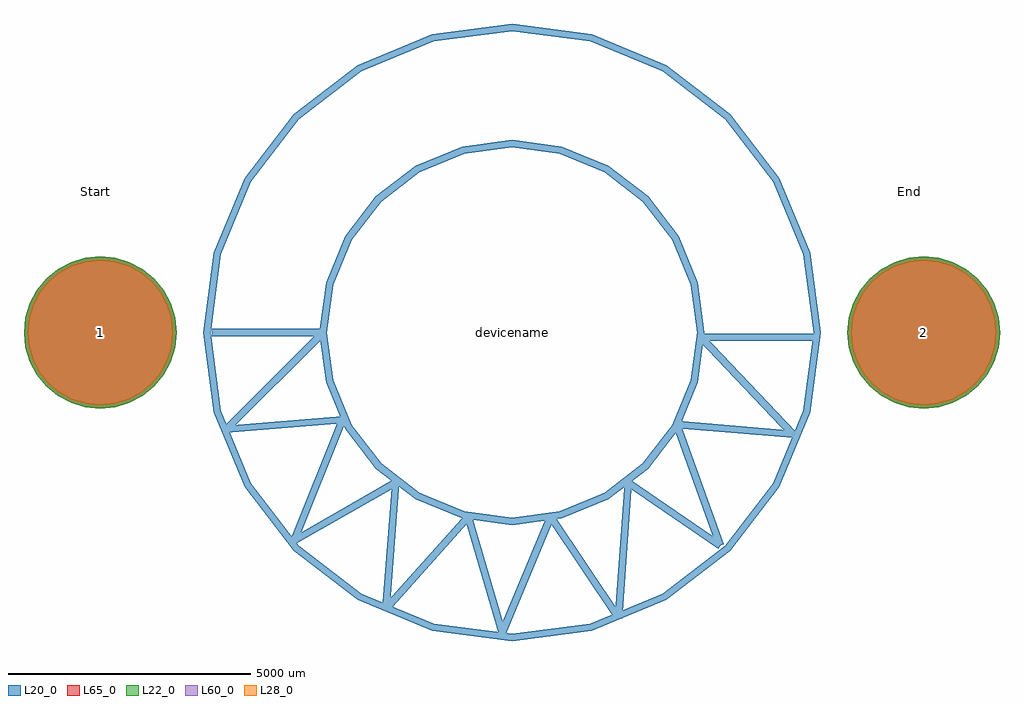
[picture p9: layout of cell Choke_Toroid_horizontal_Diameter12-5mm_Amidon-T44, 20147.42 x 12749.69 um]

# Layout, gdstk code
import gdstk
lib = gdstk.Library(unit=1e-6, precision=1e-09)
def P(c, l, *ps):  # polygons
    for p in ps: c.add(gdstk.Polygon(p, *l))
L20_0 = (20, 0)
L22_0 = (22, 0)
L28_0 = (28, 0)
L60_0 = (60, 0)
L65_0 = (65, 0)

choke_toroid_horizontal_ = lib.new_cell('Choke_Toroid_horizontal_Diameter12-5mm_Amidon-T44')
P(choke_toroid_horizontal_, L22_0, [(10073.71,0),(10043.449,307.242),(9953.83,602.677),(9808.297,874.951),(9612.441,1113.601),(9373.791,1309.457),(9101.517,1454.99),(8806.082,1544.609),(8498.84,1574.87),(8191.598,1544.609),(7896.163,1454.99),(7623.889,1309.457),(7385.239,1113.601),(7189.383,874.951),(7043.85,602.677),(6954.231,307.242),(6923.97,0),(6954.231,-307.242),(7043.85,-602.677),(7189.383,-874.951),(7385.239,-1113.601),(7623.889,-1309.457),(7896.163,-1454.99),(8191.598,-1544.609),(8498.84,-1574.87),(8806.082,-1544.609),(9101.517,-1454.99),(9373.791,-1309.457),(9612.441,-1113.601),(9808.297,-874.951),(9953.83,-602.677),(10043.449,-307.242)],
  [(-6923.97,0),(-6954.231,307.242),(-7043.85,602.677),(-7189.383,874.951),(-7385.239,1113.601),(-7623.889,1309.457),(-7896.163,1454.99),(-8191.598,1544.609),(-8498.84,1574.87),(-8806.082,1544.609),(-9101.517,1454.99),(-9373.791,1309.457),(-9612.441,1113.601),(-9808.297,874.951),(-9953.83,602.677),(-10043.449,307.242),(-10073.71,0),(-10043.449,-307.242),(-9953.83,-602.677),(-9808.297,-874.951),(-9612.441,-1113.601),(-9373.791,-1309.457),(-9101.517,-1454.99),(-8806.082,-1544.609),(-8498.84,-1574.87),(-8191.598,-1544.609),(-7896.163,-1454.99),(-7623.889,-1309.457),(-7385.239,-1113.601),(-7189.383,-874.951),(-7043.85,-602.677),(-6954.231,-307.242)])
P(choke_toroid_horizontal_, L28_0, [(9998.71,0),(9969.89,292.61),(9884.539,573.975),(9745.936,833.283),(9559.408,1060.568),(9332.123,1247.096),(9072.815,1385.699),(8791.45,1471.05),(8498.84,1499.87),(8206.23,1471.05),(7924.865,1385.699),(7665.557,1247.096),(7438.272,1060.568),(7251.744,833.283),(7113.141,573.975),(7027.79,292.61),(6998.97,0),(7027.79,-292.61),(7113.141,-573.975),(7251.744,-833.283),(7438.272,-1060.568),(7665.557,-1247.096),(7924.865,-1385.699),(8206.23,-1471.05),(8498.84,-1499.87),(8791.45,-1471.05),(9072.815,-1385.699),(9332.123,-1247.096),(9559.408,-1060.568),(9745.936,-833.283),(9884.539,-573.975),(9969.89,-292.61)],
  [(-6998.97,0),(-7027.79,292.61),(-7113.141,573.975),(-7251.744,833.283),(-7438.272,1060.568),(-7665.557,1247.096),(-7924.865,1385.699),(-8206.23,1471.05),(-8498.84,1499.87),(-8791.45,1471.05),(-9072.815,1385.699),(-9332.123,1247.096),(-9559.408,1060.568),(-9745.936,833.283),(-9884.539,573.975),(-9969.89,292.61),(-9998.71,0),(-9969.89,-292.61),(-9884.539,-573.975),(-9745.936,-833.283),(-9559.408,-1060.568),(-9332.123,-1247.096),(-9072.815,-1385.699),(-8791.45,-1471.05),(-8498.84,-1499.87),(-8206.23,-1471.05),(-7924.865,-1385.699),(-7665.557,-1247.096),(-7438.272,-1060.568),(-7251.744,-833.283),(-7113.141,-573.975),(-7027.79,-292.61)])
P(choke_toroid_horizontal_, L60_0, [(9998.71,0),(9969.89,292.61),(9884.539,573.975),(9745.936,833.283),(9559.408,1060.568),(9332.123,1247.096),(9072.815,1385.699),(8791.45,1471.05),(8498.84,1499.87),(8206.23,1471.05),(7924.865,1385.699),(7665.557,1247.096),(7438.272,1060.568),(7251.744,833.283),(7113.141,573.975),(7027.79,292.61),(6998.97,0),(7027.79,-292.61),(7113.141,-573.975),(7251.744,-833.283),(7438.272,-1060.568),(7665.557,-1247.096),(7924.865,-1385.699),(8206.23,-1471.05),(8498.84,-1499.87),(8791.45,-1471.05),(9072.815,-1385.699),(9332.123,-1247.096),(9559.408,-1060.568),(9745.936,-833.283),(9884.539,-573.975),(9969.89,-292.61)],
  [(-6998.97,0),(-7027.79,292.61),(-7113.141,573.975),(-7251.744,833.283),(-7438.272,1060.568),(-7665.557,1247.096),(-7924.865,1385.699),(-8206.23,1471.05),(-8498.84,1499.87),(-8791.45,1471.05),(-9072.815,1385.699),(-9332.123,1247.096),(-9559.408,1060.568),(-9745.936,833.283),(-9884.539,573.975),(-9969.89,292.61),(-9998.71,0),(-9969.89,-292.61),(-9884.539,-573.975),(-9745.936,-833.283),(-9559.408,-1060.568),(-9332.123,-1247.096),(-9072.815,-1385.699),(-8791.45,-1471.05),(-8498.84,-1499.87),(-8206.23,-1471.05),(-7924.865,-1385.699),(-7665.557,-1247.096),(-7438.272,-1060.568),(-7251.744,-833.283),(-7113.141,-573.975),(-7027.79,-292.61)])
P(choke_toroid_horizontal_, L65_0, [(10073.71,0),(10043.449,307.242),(9953.83,602.677),(9808.297,874.951),(9612.441,1113.601),(9373.791,1309.457),(9101.517,1454.99),(8806.082,1544.609),(8498.84,1574.87),(8191.598,1544.609),(7896.163,1454.99),(7623.889,1309.457),(7385.239,1113.601),(7189.383,874.951),(7043.85,602.677),(6954.231,307.242),(6923.97,0),(6954.231,-307.242),(7043.85,-602.677),(7189.383,-874.951),(7385.239,-1113.601),(7623.889,-1309.457),(7896.163,-1454.99),(8191.598,-1544.609),(8498.84,-1574.87),(8806.082,-1544.609),(9101.517,-1454.99),(9373.791,-1309.457),(9612.441,-1113.601),(9808.297,-874.951),(9953.83,-602.677),(10043.449,-307.242)],
  [(-6923.97,0),(-6954.231,307.242),(-7043.85,602.677),(-7189.383,874.951),(-7385.239,1113.601),(-7623.889,1309.457),(-7896.163,1454.99),(-8191.598,1544.609),(-8498.84,1574.87),(-8806.082,1544.609),(-9101.517,1454.99),(-9373.791,1309.457),(-9612.441,1113.601),(-9808.297,874.951),(-9953.83,602.677),(-10043.449,307.242),(-10073.71,0),(-10043.449,-307.242),(-9953.83,-602.677),(-9808.297,-874.951),(-9612.441,-1113.601),(-9373.791,-1309.457),(-9101.517,-1454.99),(-8806.082,-1544.609),(-8498.84,-1574.87),(-8191.598,-1544.609),(-7896.163,-1454.99),(-7623.889,-1309.457),(-7385.239,-1113.601),(-7189.383,-874.951),(-7043.85,-602.677),(-6954.231,-307.242)])
choke_toroid_horizontal_.add(gdstk.FlexPath([(6299.2,0),(6084.56,1630.353),(5455.267,3149.6),(4454.207,4454.207),(3149.6,5455.267),(1630.353,6084.56),(0,6299.2),(-1630.353,6084.56),(-3149.6,5455.267),(-4454.207,4454.207),(-5455.267,3149.6),(-6084.56,1630.353),(-6299.2,0),(-6084.56,-1630.353),(-5455.267,-3149.6),(-4454.207,-4454.207),(-3149.6,-5455.267),(-1630.353,-6084.56),(0,-6299.2),(1630.353,-6084.56),(3149.6,-5455.267),(4454.207,-4454.207),(5455.267,-3149.6),(6084.56,-1630.353),(6299.2,0)], 149.998, ends="flush", simple_path=True, layer=20, datatype=0))  # L20_0
choke_toroid_horizontal_.add(gdstk.FlexPath([(3898.9,0),(3766.048,1009.11),(3376.546,1949.45),(2756.939,2756.939),(1949.45,3376.546),(1009.11,3766.048),(0,3898.9),(-1009.11,3766.048),(-1949.45,3376.546),(-2756.939,2756.939),(-3376.546,1949.45),(-3766.048,1009.11),(-3898.9,0),(-3766.048,-1009.11),(-3376.546,-1949.45),(-2756.939,-2756.939),(-1949.45,-3376.546),(-1009.11,-3766.048),(0,-3898.9),(1009.11,-3766.048),(1949.45,-3376.546),(2756.939,-2756.939),(3376.546,-1949.45),(3766.048,-1009.11),(3898.9,0)], 149.998, ends="flush", simple_path=True, layer=20, datatype=0))  # L20_0
choke_toroid_horizontal_.add(gdstk.FlexPath([(3898.9,-99.06),(6299.2,-99.06)], 149.998, ends="flush", simple_path=True, layer=20, datatype=0))  # L20_0
choke_toroid_horizontal_.add(gdstk.FlexPath([(5798.82,-2100.58),(3898.9,-99.06)], 149.998, ends="flush", simple_path=True, layer=20, datatype=0))  # L20_0
choke_toroid_horizontal_.add(gdstk.FlexPath([(3401.06,-1899.92),(5798.82,-2100.58)], 149.998, ends="flush", simple_path=True, layer=20, datatype=0))  # L20_0
choke_toroid_horizontal_.add(gdstk.FlexPath([(4300.22,-4399.28),(3401.06,-1899.92)], 149.998, ends="flush", simple_path=True, layer=20, datatype=0))  # L20_0
choke_toroid_horizontal_.add(gdstk.FlexPath([(2400.3,-3098.8),(4300.22,-4399.28)], 149.998, ends="flush", simple_path=True, layer=20, datatype=0))  # L20_0
choke_toroid_horizontal_.add(gdstk.FlexPath([(2199.64,-5900.42),(2400.3,-3098.8)], 149.998, ends="flush", simple_path=True, layer=20, datatype=0))  # L20_0
choke_toroid_horizontal_.add(gdstk.FlexPath([(800.1,-3799.84),(2199.64,-5900.42)], 149.998, ends="flush", simple_path=True, layer=20, datatype=0))  # L20_0
choke_toroid_horizontal_.add(gdstk.FlexPath([(-200.66,-6200.14),(800.1,-3799.84)], 149.998, ends="flush", simple_path=True, layer=20, datatype=0))  # L20_0
choke_toroid_horizontal_.add(gdstk.FlexPath([(-899.16,-3799.84),(-200.66,-6200.14)], 149.998, ends="flush", simple_path=True, layer=20, datatype=0))  # L20_0
choke_toroid_horizontal_.add(gdstk.FlexPath([(-2600.96,-5699.76),(-899.16,-3799.84)], 149.998, ends="flush", simple_path=True, layer=20, datatype=0))  # L20_0
choke_toroid_horizontal_.add(gdstk.FlexPath([(-2400.3,-3098.8),(-2600.96,-5699.76)], 149.998, ends="flush", simple_path=True, layer=20, datatype=0))  # L20_0
choke_toroid_horizontal_.add(gdstk.FlexPath([(-4500.88,-4300.22),(-2400.3,-3098.8)], 149.998, ends="flush", simple_path=True, layer=20, datatype=0))  # L20_0
choke_toroid_horizontal_.add(gdstk.FlexPath([(-3500.12,-1800.86),(-4500.88,-4300.22)], 149.998, ends="flush", simple_path=True, layer=20, datatype=0))  # L20_0
choke_toroid_horizontal_.add(gdstk.FlexPath([(-5900.42,-1998.98),(-3500.12,-1800.86)], 149.998, ends="flush", simple_path=True, layer=20, datatype=0))  # L20_0
choke_toroid_horizontal_.add(gdstk.FlexPath([(-3898.9,0),(-5900.42,-1998.98)], 149.998, ends="flush", simple_path=True, layer=20, datatype=0))  # L20_0
choke_toroid_horizontal_.add(gdstk.FlexPath([(-6200.14,0),(-3898.9,0)], 149.998, ends="flush", simple_path=True, layer=20, datatype=0))  # L20_0
choke_toroid_horizontal_.add(gdstk.Label('2', (8498.84,0), layer=28, texttype=0))
choke_toroid_horizontal_.add(gdstk.Label('1', (-8498.84,0), layer=28, texttype=0))
choke_toroid_horizontal_.add(gdstk.Label('Start', (-8600.44,2900.68), layer=9, texttype=0))
choke_toroid_horizontal_.add(gdstk.Label('End', (8199.12,2900.68), layer=9, texttype=0))
choke_toroid_horizontal_.add(gdstk.Label('type', (0,-7620), layer=9, texttype=0))
choke_toroid_horizontal_.add(gdstk.Label('devicename', (0,0), layer=9, texttype=0))

lib.write_gds('Choke_Toroid_horizontal_Diameter12-5mm_Amidon-T44.gds')
